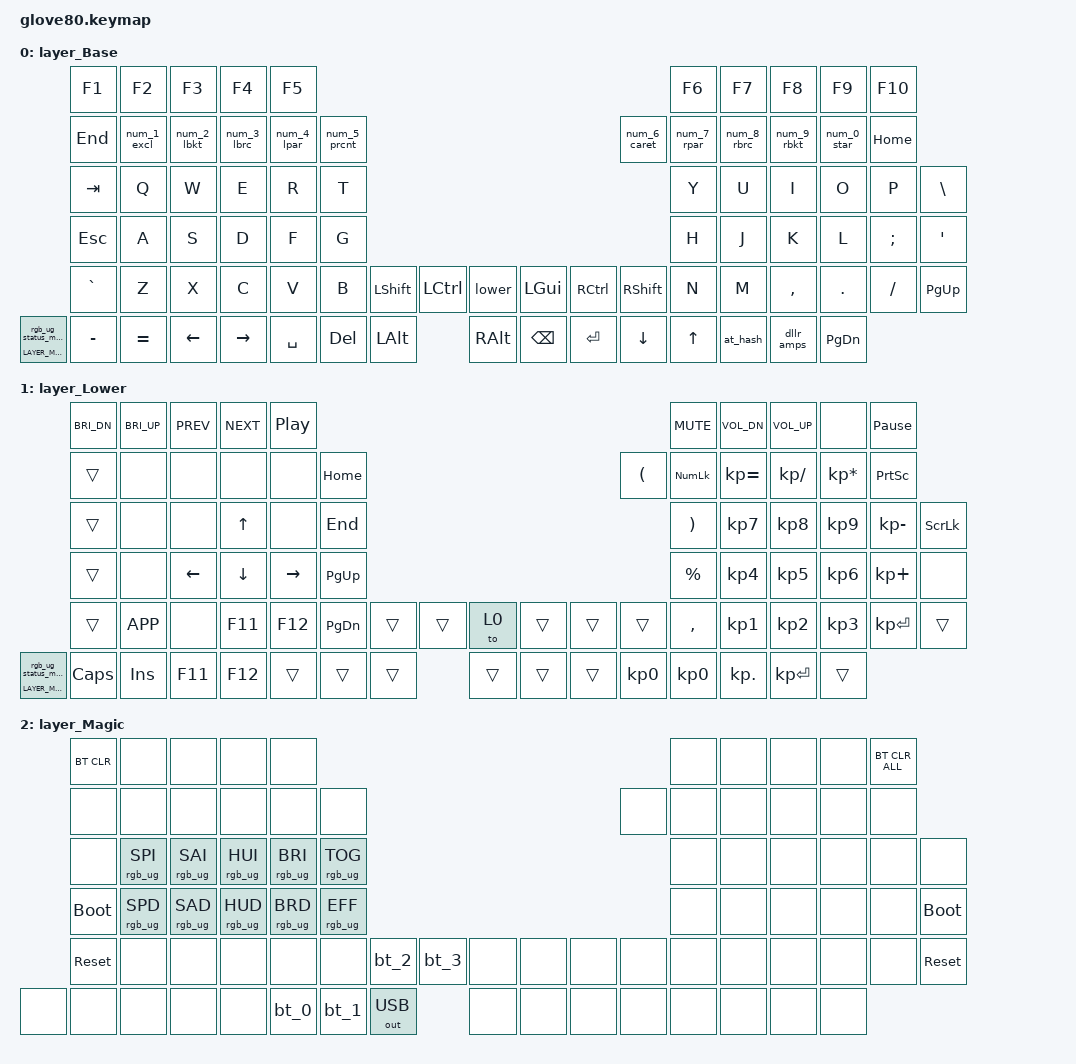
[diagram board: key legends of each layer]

/*
 * Copyright (c) 2020 The ZMK Contributors
 * Copyright (c) 2023 Innaworks Development Limited, trading as MoErgo
 *
 * SPDX-License-Identifier: MIT
 */


/* THIS FILE WAS GENERATED BY GLOVE80 LAYOUT EDITOR
 *
 * This file was generated automatically. You may or may not want to
 * edit it directly.
 */

#include <behaviors.dtsi>
/* Include all behavior includes needed */
#include <dt-bindings/zmk/outputs.h>
#include <dt-bindings/zmk/keys.h>
#include <dt-bindings/zmk/bt.h>
#include <dt-bindings/zmk/rgb.h>

/* On demand includes */


/* Automatically generated layer name #define */
#define LAYER_Base 0
#define LAYER_Lower 1
#define LAYER_Magic 2

/* To deal with the situation where there is no Lower layer, to keep &lower happy */
#ifndef LAYER_Lower
#define LAYER_Lower 0
#endif

/* Custom Device-tree */


/* Custom Shift Layer */
/ {
    behaviors {
        // Custom behavior for numbers with shifted symbols
        num_1_excl: num_1_excl {
            compatible = "zmk,behavior-mod-morph";
            label = "NUM_1_EXCL";
            #binding-cells = <0>;
            bindings = <&kp EXCL>, <&kp N1>;
            mods = <(MOD_LSFT|MOD_RSFT)>;
        };

        num_2_lbkt: num_2_lbkt {
            compatible = "zmk,behavior-mod-morph";
            label = "NUM_2_LBKT";
            #binding-cells = <0>;
            bindings = <&kp LBKT>, <&kp N2>;
            mods = <(MOD_LSFT|MOD_RSFT)>;
        };

        num_3_lbrc: num_3_lbrc {
            compatible = "zmk,behavior-mod-morph";
            label = "NUM_3_LBRC";
            #binding-cells = <0>;
            bindings = <&kp LBRC>, <&kp N3>;
            mods = <(MOD_LSFT|MOD_RSFT)>;
        };
        
        num_4_lpar: num_4_lpar {
            compatible = "zmk,behavior-mod-morph";
            label = "NUM_4_LPAR";
            #binding-cells = <0>;
            bindings = <&kp LPAR>, <&kp N4>;
            mods = <(MOD_LSFT|MOD_RSFT)>;
        };

        num_5_prcnt: num_5_prcnt {
            compatible = "zmk,behavior-mod-morph";
            label = "NUM_5_PRCNT";
            #binding-cells = <0>;
            bindings = <&kp PRCNT>, <&kp N5>;
            mods = <(MOD_LSFT|MOD_RSFT)>;
        };

        num_6_caret: num_6_caret {
            compatible = "zmk,behavior-mod-morph";
            label = "NUM_6_CARET";
            #binding-cells = <0>;
            bindings = <&kp CARET>, <&kp N6>;
            mods = <(MOD_LSFT|MOD_RSFT)>;
        };

        num_7_rpar: num_7_rpar {
            compatible = "zmk,behavior-mod-morph";
            label = "NUM_7_RPAR";
            #binding-cells = <0>;
            bindings = <&kp RPAR>, <&kp N7>;
            mods = <(MOD_LSFT|MOD_RSFT)>;
        };


        num_8_rbrc: num_8_rbrc {
            compatible = "zmk,behavior-mod-morph";
            label = "NUM_8_RBRC";
            #binding-cells = <0>;
            bindings = <&kp RBRC>, <&kp N8>;
            mods = <(MOD_LSFT|MOD_RSFT)>;
        };
        
        num_9_rbkt: num_9_rbkt {
            compatible = "zmk,behavior-mod-morph";
            label = "NUM_9_RBKT";
            #binding-cells = <0>;
            bindings = <&kp RBKT>, <&kp N9>;
            mods = <(MOD_LSFT|MOD_RSFT)>;
        };

        num_0_star: num_0_star {
            compatible = "zmk,behavior-mod-morph";
            label = "NUM_0_STAR";
            #binding-cells = <0>;
            bindings = <&kp STAR>, <&kp N0>;
            mods = <(MOD_LSFT|MOD_RSFT)>;
        };

        at_hash: at_hash {
            compatible = "zmk,behavior-mod-morph";
            label = "AT_HASH";
            #binding-cells = <0>;
            bindings = <&kp AT>, <&kp HASH>;
            mods = <(MOD_LSFT|MOD_RSFT)>;
        };

        dllr_amps: dllr_amps {
            compatible = "zmk,behavior-mod-morph";
            label = "DLLR_AMPS";
            #binding-cells = <0>;
            bindings = <&kp DLLR>, <&kp AMPS>;
            mods = <(MOD_LSFT|MOD_RSFT)>;
        };
    };
};

/* Glove80 system behavior & macros */
/ {
    behaviors {
        // For the "layer" key, it'd nice to be able to use it as either a shift or a toggle.
        // Configure it as a tap dance, so the first tap (or hold) is a &mo and the second tap is a &to
        lower: lower {
            compatible = "zmk,behavior-tap-dance";
            label = "LAYER_TAP_DANCE";
            #binding-cells = <0>;
            tapping-term-ms = <200>;
            bindings = <&mo LAYER_Lower>, <&to LAYER_Lower>;
        };
    };
};

/ {
    macros {
        rgb_ug_status_macro: rgb_ug_status_macro {
            label = "RGB_UG_STATUS";
            compatible = "zmk,behavior-macro";
            #binding-cells = <0>;
            bindings
                = <&rgb_ug RGB_STATUS>;
        };
    };
};


/ {
#ifdef BT_DISC_CMD
    behaviors {
        bt_0: bt_0 {
            compatible = "zmk,behavior-tap-dance";
            label = "BT_0";
            #binding-cells = <0>;
            tapping-term-ms = <200>;
            bindings = <&bt_select_0>, <&bt BT_DISC 0>;
        };
        bt_1: bt_1 {
            compatible = "zmk,behavior-tap-dance";
            label = "BT_1";
            #binding-cells = <0>;
            tapping-term-ms = <200>;
            bindings = <&bt_select_1>, <&bt BT_DISC 1>;
        };
        bt_2: bt_2 {
            compatible = "zmk,behavior-tap-dance";
            label = "BT_2";
            #binding-cells = <0>;
            tapping-term-ms = <200>;
            bindings = <&bt_select_2>, <&bt BT_DISC 2>;
        };
        bt_3: bt_3 {
            compatible = "zmk,behavior-tap-dance";
            label = "BT_3";
            #binding-cells = <0>;
            tapping-term-ms = <200>;
            bindings = <&bt_select_3>, <&bt BT_DISC 3>;
        };
    };
    macros {
        bt_select_0: bt_select_0 {
            label = "BT_SELECT_0";
            compatible = "zmk,behavior-macro";
            #binding-cells = <0>;
            bindings
                = <&out OUT_BLE>,
                  <&bt BT_SEL 0>;
        };
        bt_select_1: bt_select_1 {
            label = "BT_SELECT_1";
            compatible = "zmk,behavior-macro";
            #binding-cells = <0>;
            bindings
                = <&out OUT_BLE>,
                  <&bt BT_SEL 1>;
        };
        bt_select_2: bt_select_2 {
            label = "BT_SELECT_2";
            compatible = "zmk,behavior-macro";
            #binding-cells = <0>;
            bindings
                = <&out OUT_BLE>,
                  <&bt BT_SEL 2>;
        };
        bt_select_3: bt_select_3 {
            label = "BT_SELECT_3";
            compatible = "zmk,behavior-macro";
            #binding-cells = <0>;
            bindings
                = <&out OUT_BLE>,
                  <&bt BT_SEL 3>;
        };
    };
#else
    macros {
        bt_0: bt_0 {
            label = "BT_0";
            compatible = "zmk,behavior-macro";
            #binding-cells = <0>;
            bindings
                = <&out OUT_BLE>,
                  <&bt BT_SEL 0>;
        };
        bt_1: bt_1 {
            label = "BT_1";
            compatible = "zmk,behavior-macro";
            #binding-cells = <0>;
            bindings
                = <&out OUT_BLE>,
                  <&bt BT_SEL 1>;
        };
        bt_2: bt_2 {
            label = "BT_2";
            compatible = "zmk,behavior-macro";
            #binding-cells = <0>;
            bindings
                = <&out OUT_BLE>,
                  <&bt BT_SEL 2>;
        };
        bt_3: bt_3 {
            label = "BT_3";
            compatible = "zmk,behavior-macro";
            #binding-cells = <0>;
            bindings
                = <&out OUT_BLE>,
                  <&bt BT_SEL 3>;
        };
    };
#endif
};

/ {
    behaviors {
        magic: magic {
            compatible = "zmk,behavior-hold-tap";
            label = "MAGIC_HOLD_TAP";
            #binding-cells = <2>;
            flavor = "tap-preferred";
            tapping-term-ms = <200>;
            bindings = <&mo>, <&rgb_ug_status_macro>;
        };
    };
};

/* #define for key positions */
#define POS_LH_T1 52
#define POS_LH_T2 53
#define POS_LH_T3 54
#define POS_LH_T4 69
#define POS_LH_T5 70
#define POS_LH_T6 71
#define POS_LH_C1R2 15
#define POS_LH_C1R3 27
#define POS_LH_C1R4 39
#define POS_LH_C1R5 51
#define POS_LH_C2R1 4
#define POS_LH_C2R2 14
#define POS_LH_C2R3 26
#define POS_LH_C2R4 38
#define POS_LH_C2R5 50
#define POS_LH_C2R6 68
#define POS_LH_C3R1 3
#define POS_LH_C3R2 13
#define POS_LH_C3R3 25
#define POS_LH_C3R4 37
#define POS_LH_C3R5 49
#define POS_LH_C3R6 67
#define POS_LH_C4R1 2
#define POS_LH_C4R2 12
#define POS_LH_C4R3 24
#define POS_LH_C4R4 36
#define POS_LH_C4R5 48
#define POS_LH_C4R6 66
#define POS_LH_C5R1 1
#define POS_LH_C5R2 11
#define POS_LH_C5R3 23
#define POS_LH_C5R4 35
#define POS_LH_C5R5 47
#define POS_LH_C5R6 65
#define POS_LH_C6R1 0
#define POS_LH_C6R2 10
#define POS_LH_C6R3 22
#define POS_LH_C6R4 34
#define POS_LH_C6R5 46
#define POS_LH_C6R6 64
#define POS_RH_T1 57
#define POS_RH_T2 56
#define POS_RH_T3 55
#define POS_RH_T4 74
#define POS_RH_T5 73
#define POS_RH_T6 72
#define POS_RH_C1R2 16
#define POS_RH_C1R3 28
#define POS_RH_C1R4 40
#define POS_RH_C1R5 58
#define POS_RH_C2R1 5
#define POS_RH_C2R2 17
#define POS_RH_C2R3 29
#define POS_RH_C2R4 41
#define POS_RH_C2R5 59
#define POS_RH_C2R6 75
#define POS_RH_C3R1 6
#define POS_RH_C3R2 18
#define POS_RH_C3R3 30
#define POS_RH_C3R4 42
#define POS_RH_C3R5 60
#define POS_RH_C3R6 76
#define POS_RH_C4R1 7
#define POS_RH_C4R2 19
#define POS_RH_C4R3 31
#define POS_RH_C4R4 43
#define POS_RH_C4R5 61
#define POS_RH_C4R6 77
#define POS_RH_C5R1 8
#define POS_RH_C5R2 20
#define POS_RH_C5R3 32
#define POS_RH_C5R4 44
#define POS_RH_C5R5 62
#define POS_RH_C5R6 78
#define POS_RH_C6R1 9
#define POS_RH_C6R2 21
#define POS_RH_C6R3 33
#define POS_RH_C6R4 45
#define POS_RH_C6R5 63
#define POS_RH_C6R6 79

/* Custom Defined Behaviors */
/ {

};

/* Automatically generated macro definitions */
/ {
    macros {

    };
};

/* Automatically generated behavior definitions */
/ {
    behaviors {
    
    };
};

/* Automatically generated combos definitions */


/* Automatically generated keymap */
/ {
    keymap {
        compatible = "zmk,keymap";


        layer_Base {
            bindings = <
               &kp F1     &kp F2            &kp F3            &kp F4             &kp F5                                                                                  &kp F6           &kp F7            &kp F8            &kp F9            &kp F10
              &kp END     &num_1_excl    &num_2_lbkt    &num_3_lbrc     &num_4_lpar  &num_5_prcnt                                                         &num_6_caret  &num_7_rpar    &num_8_rbrc    &num_9_rbkt    &num_0_star   &kp HOME
              &kp TAB     &kp Q             &kp W             &kp E              &kp R           &kp T                                                                   &kp Y            &kp U             &kp I             &kp O             &kp P            &kp BSLH
              &kp ESC     &kp A             &kp S             &kp D              &kp F           &kp G                                                                   &kp H            &kp J             &kp K             &kp L             &kp SEMI         &kp SQT
            &kp GRAVE     &kp Z             &kp X             &kp C              &kp V           &kp B  &kp LSHFT  &kp LCTRL    &lower  &kp LGUI  &kp RCTRL  &kp RSHFT   &kp N            &kp M             &kp COMMA         &kp DOT           &kp FSLH         &kp PG_UP
 &magic LAYER_Magic 0  &kp MINUS  &kp EQUAL  &kp LEFT  &kp RIGHT          &kp SPACE    &kp DEL  &kp LALT  &kp RALT   &kp BSPC    &kp RET          &kp DOWN   &kp UP  &at_hash  &dllr_amps  &kp PG_DN
            >;
        };

        layer_Lower {
            bindings = <
         &kp C_BRI_DN  &kp C_BRI_UP      &kp C_PREV      &kp C_NEXT         &kp C_PP                                                                                    &kp C_MUTE  &kp C_VOL_DN  &kp C_VOL_UP            &none  &kp PAUSE_BREAK
               &trans         &none           &none           &none            &none   &kp HOME                                                   &kp LEFT_PARENTHESIS  &kp KP_NUM  &kp KP_EQUAL  &kp KP_SLASH  &kp KP_MULTIPLY  &kp PRINTSCREEN
               &trans         &none           &none    &kp UP_ARROW            &none    &kp END                                                  &kp RIGHT_PARENTHESIS   &kp KP_N7     &kp KP_N8     &kp KP_N9     &kp KP_MINUS   &kp SCROLLLOCK
               &trans         &none  &kp LEFT_ARROW  &kp DOWN_ARROW  &kp RIGHT_ARROW  &kp PG_UP                                                            &kp PERCENT   &kp KP_N4     &kp KP_N5     &kp KP_N6      &kp KP_PLUS            &none
               &trans     &kp K_APP           &none         &kp F11          &kp F12  &kp PG_DN  &trans  &trans   &to 0  &trans  &trans  &trans              &kp COMMA   &kp KP_N1     &kp KP_N2     &kp KP_N3     &kp KP_ENTER           &trans
 &magic LAYER_Magic 0      &kp CAPS         &kp INS         &kp F11          &kp F12             &trans  &trans  &trans  &trans  &trans  &trans                          &kp KP_N0     &kp KP_N0    &kp KP_DOT     &kp KP_ENTER           &trans
            >;
        };

        layer_Magic {
            bindings = <
  &bt BT_CLR            &none            &none            &none            &none                                                                                  &none   &none   &none   &none  &bt BT_CLR_ALL
       &none            &none            &none            &none            &none            &none                                                         &none   &none   &none   &none   &none           &none
       &none  &rgb_ug RGB_SPI  &rgb_ug RGB_SAI  &rgb_ug RGB_HUI  &rgb_ug RGB_BRI  &rgb_ug RGB_TOG                                                         &none   &none   &none   &none   &none           &none
 &bootloader  &rgb_ug RGB_SPD  &rgb_ug RGB_SAD  &rgb_ug RGB_HUD  &rgb_ug RGB_BRD  &rgb_ug RGB_EFF                                                         &none   &none   &none   &none   &none     &bootloader
  &sys_reset            &none            &none            &none            &none            &none   &bt_2   &bt_3         &none   &none   &none   &none   &none   &none   &none   &none   &none      &sys_reset
       &none            &none            &none            &none            &none                    &bt_0   &bt_1  &out OUT_USB   &none   &none   &none           &none   &none   &none   &none           &none
            >;
        };

    };
};
